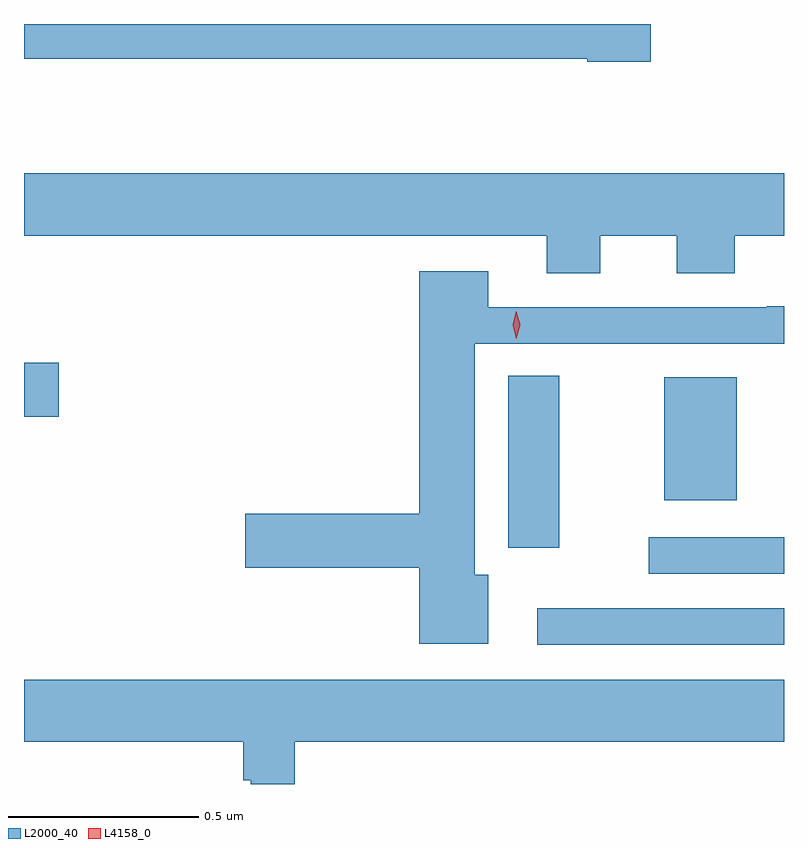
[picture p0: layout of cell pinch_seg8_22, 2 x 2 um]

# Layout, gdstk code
import gdstk
lib = gdstk.Library(unit=1e-6, precision=1e-09)
def R(c, l, rs):  # rectangles x0, y0, x1, y1
    for r in rs: c.add(gdstk.rectangle(r[:2], r[2:], *l))
def P(c, l, *ps):  # polygons
    for p in ps: c.add(gdstk.Polygon(p, *l))
L2000_40 = (2000, 40)
L4158_0 = (4158, 0)

pinch_seg8_22 = lib.new_cell('pinch_seg8_22')
R(pinch_seg8_22, L2000_40, [(1020.36,1134.072,1021.01,1134.168), (1020.654,1134.258,1021.01,1134.354), (1020.284,1134.327,1020.418,1134.779), (1020.695,1134.452,1020.886,1134.775), (1019.01,1134.671,1019.101,1134.813)])
P(pinch_seg8_22, L2000_40, [(1020.659,1135.705),(1019.01,1135.705),(1019.01,1135.614),(1020.492,1135.614),(1020.492,1135.606),(1020.659,1135.606)],
  [(1020.526,1135.148),(1020.728,1135.148),(1020.728,1135.049),(1020.881,1135.049),(1020.881,1135.148),(1021.01,1135.148),(1021.01,1135.312),(1019.01,1135.312),(1019.01,1135.148),(1020.386,1135.148),(1020.386,1135.049),(1020.526,1135.049)],
  [(1020.232,1134.256),(1020.196,1134.256),(1020.196,1134.864),(1021.01,1134.864),(1021.01,1134.962),(1020.964,1134.962),(1020.964,1134.96),(1020.232,1134.96),(1020.232,1135.054),(1020.05,1135.054),(1020.05,1134.416),(1019.592,1134.416),(1019.592,1134.274),(1020.05,1134.274),(1020.05,1134.074),(1020.232,1134.074)],
  [(1019.723,1133.816),(1021.01,1133.816),(1021.01,1133.98),(1019.01,1133.98),(1019.01,1133.816),(1019.587,1133.816),(1019.587,1133.715),(1019.607,1133.715),(1019.607,1133.705),(1019.723,1133.705)])
P(pinch_seg8_22, L4158_0, [(1020.305,1134.877),(1020.296,1134.913),(1020.306,1134.949),(1020.306,1134.949),(1020.306,1134.949),(1020.316,1134.913),(1020.306,1134.877),(1020.306,1134.877)])

lib.write_gds('pinch_seg8_22.gds')
